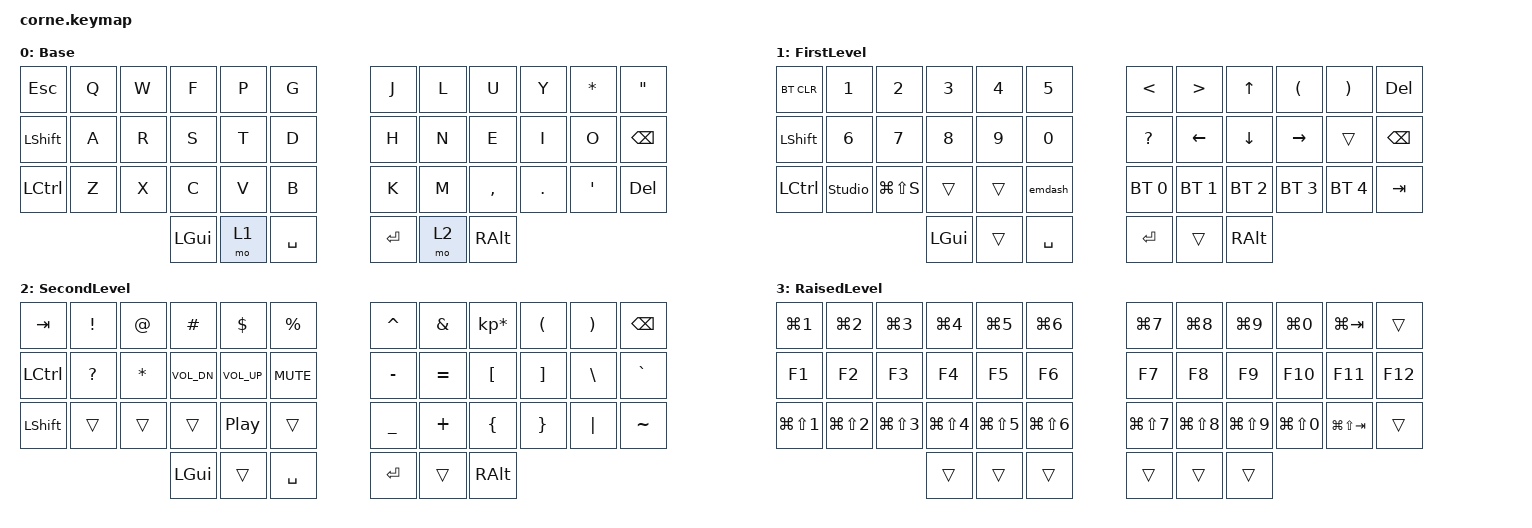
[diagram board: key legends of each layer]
/*
 * Copyright (c) 2020 The ZMK Contributors
 *
 * SPDX-License-Identifier: MIT
 */

#include <behaviors.dtsi>
#include <dt-bindings/zmk/bt.h>
#include <dt-bindings/zmk/keys.h>

&soft_off {
    hold-time-ms = <3000>; // Only turn off it the key is held for 5 seconds or longer.
};

&soft_off { /delete-property/ split-peripheral-off-on-press; };

/ {
    macros {
        emdash: emdash {
            compatible = "zmk,behavior-macro";
            #binding-cells = <0>;
            bindings =
                <&kp LS(LC(U)) &kp N2 &kp N0 &kp N1 &kp N4 &kp ENTER>,
                <&macro_tap>;

            label = "EMDASH";
        };
    };

    keymap {
        compatible = "zmk,keymap";

        Base {
            // -----------------------------------------------------------------------------------------
            // |  TAB |  Q  |  W  |  E  |  R  |  T  |   |  Y  |  U   |  I  |  O  |  P  | BKSP |
            // | CTRL |  A  |  S  |  D  |  F  |  G  |   |  H  |  J   |  K  |  L  |  ;  |  '   |
            // | SHFT |  Z  |  X  |  C  |  V  |  B  |   |  N  |  M   |  ,  |  .  |  /  | ESC  |
            //                    | GUI | LWR | SPC |   | ENT | RSE  | ALT |

            bindings = <
&kp ESCAPE        &kp Q  &kp W  &kp F     &kp P  &kp G        &kp J    &kp L  &kp U      &kp Y    &kp ASTRK  &kp DQT
&kp LEFT_SHIFT    &kp A  &kp R  &kp S     &kp T  &kp D        &kp H    &kp N  &kp E      &kp I    &kp O      &kp BACKSPACE
&kp LEFT_CONTROL  &kp Z  &kp X  &kp C     &kp V  &kp B        &kp K    &kp M  &kp COMMA  &kp DOT  &kp SQT    &kp DELETE
                                &kp LGUI  &mo 1  &kp SPACE    &kp RET  &mo 2  &kp RALT
            >;
        };

        FirstLevel {
            // -----------------------------------------------------------------------------------------
            // |  TAB |  1  |  2  |  3  |  4  |  5  |   |  6  |  7  |  8  |  9  |  0  | BKSP |
            // | BTCLR| BT1 | BT2 | BT3 | BT4 | BT5 |   | LFT | DWN |  UP | RGT |     |      |
            // | SHFT |     |     |     |     |     |   |     |     |     |     |     |      |
            //                    | GUI |     | SPC |   | ENT |     | ALT |

            bindings = <
&bt BT_CLR  &kp N1          &kp N2         &kp N3    &kp N4  &kp N5       &kp LESS_THAN  &kp GREATER_THAN  &kp UP_ARROW    &kp LEFT_PARENTHESIS  &kp RIGHT_PARENTHESIS  &kp DELETE
&kp LSHFT   &kp N6          &kp N7         &kp N8    &kp N9  &kp N0       &kp QUESTION   &kp LEFT_ARROW    &kp DOWN_ARROW  &kp RIGHT             &trans                 &kp BACKSPACE
&kp LCTRL   &studio_unlock  &kp LG(LS(S))  &trans    &trans  &emdash      &bt BT_SEL 0   &bt BT_SEL 1      &bt BT_SEL 2    &bt BT_SEL 3          &bt BT_SEL 4           &kp TAB
                                           &kp LGUI  &trans  &kp SPACE    &kp RET        &trans            &kp RALT
            >;
        };

        SecondLevel {
            // -----------------------------------------------------------------------------------------
            // |  TAB |  !  |  @  |  #  |  $  |  %  |   |  ^  |  &  |  *  |  (  |  )  | BKSP |
            // | CTRL |     |     |     |     |     |   |  -  |  =  |  [  |  ]  |  \  |  `   |
            // | SHFT |     | OFF |     |     |     |   |  _  |  +  |  {  |  }  | "|" |  ~   |
            //                    | GUI |     | SPC |   | ENT |     | ALT |

            bindings = <
&kp TAB    &kp EXCL   &kp AT        &kp HASH      &kp DLLR          &kp PRCNT     &kp CARET  &kp AMPS   &kp KP_MULTIPLY  &kp LPAR  &kp RPAR  &kp BSPC
&kp LCTRL  &kp QMARK  &kp ASTERISK  &kp C_VOL_DN  &kp C_VOLUME_UP   &kp C_MUTE    &kp MINUS  &kp EQUAL  &kp LBKT         &kp RBKT  &kp BSLH  &kp GRAVE
&kp LSHFT  &trans     &trans        &trans        &kp C_PLAY_PAUSE  &trans        &kp UNDER  &kp PLUS   &kp LBRC         &kp RBRC  &kp PIPE  &kp TILDE
                                    &kp LGUI      &trans            &kp SPACE     &kp RET    &trans     &kp RALT
            >;
        };

        RaisedLevel {
            bindings = <
&kp LG(N1)      &kp LG(NUMBER_2)  &kp LG(N3)      &kp LG(NUMBER_4)  &kp LG(N5)      &kp LG(N6)        &kp LG(N7)      &kp LG(N8)      &kp LG(N9)      &kp LG(N0)      &kp LG(TAB)      &trans
&kp F1          &kp F2            &kp F3          &kp F4            &kp F5          &kp F6            &kp F7          &kp F8          &kp F9          &kp F10         &kp F11          &kp F12
&kp LG(LS(N1))  &kp LG(LS(N2))    &kp LG(LS(N3))  &kp LG(LS(N4))    &kp LG(LS(N5))  &kp LG(LS(N6))    &kp LG(LS(N7))  &kp LG(LS(N8))  &kp LG(LS(N9))  &kp LG(LS(N0))  &kp LG(LS(TAB))  &trans
                                                  &trans            &trans          &trans            &trans          &trans          &trans
            >;
        };
    };

    conditional_layers {
        compatible = "zmk,conditional-layers";

        Layer3 {
            if-layers = <1 2>;
            then-layer = <3>;
        };
    };
};
